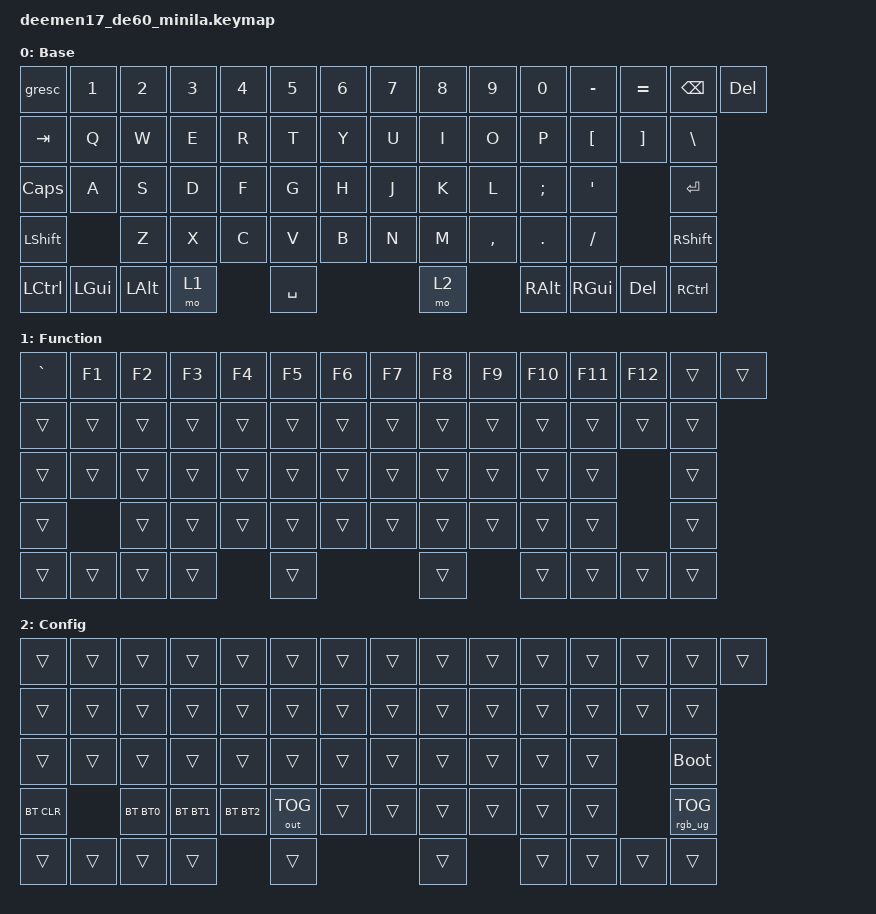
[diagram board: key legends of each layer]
/*
 * Copyright (c) 2024 Deemen17 Works
 *
 * SPDX-License-Identifier: MIT
 */

#include <behaviors.dtsi>
#include <dt-bindings/zmk/keys.h>
#include <dt-bindings/zmk/rgb.h>
#include <dt-bindings/zmk/bt.h>
#include <dt-bindings/zmk/outputs.h>
#include <dt-bindings/zmk/ext_power.h>

#define BT0 BT_SEL 0
#define BT1 BT_SEL 1
#define BT2 BT_SEL 2
#define USB OUT_USB
#define BLE OUT_BLE
#define TOG OUT_TOG

/ {
    keymap {
        compatible = "zmk,keymap";

        default_layer {
            display-name = "Base";
            bindings = <
    &gresc     &kp N1   &kp N2   &kp N3 &kp N4 &kp N5 &kp N6 &kp N7 &kp N8 &kp N9     &kp N0      &kp MINUS   &kp EQUAL &kp BSPC  &kp DEL    
    &kp TAB    &kp Q    &kp W    &kp E  &kp R  &kp T  &kp Y  &kp U  &kp I  &kp O      &kp P       &kp LBKT    &kp RBKT  &kp BSLH 
    &kp CLCK   &kp A    &kp S    &kp D  &kp F  &kp G  &kp H  &kp J  &kp K  &kp L      &kp SEMI    &kp SQT               &kp RET       
    &kp LSHFT           &kp Z    &kp X  &kp C  &kp V  &kp B  &kp N  &kp M  &kp COMMA  &kp DOT     &kp FSLH              &kp RSHFT               
    &kp LCTRL  &kp LGUI &kp LALT &mo 1         &kp SPACE            &mo 2             &kp RALT    &kp RGUI    &kp DEL   &kp RCTRL 
            >;
        };

        function_layer {
            display-name = "Function";
            bindings = <
    &kp GRAVE  &kp F1  &kp F2  &kp F3  &kp F4  &kp F5  &kp F6  &kp F7  &kp F8  &kp F9  &kp F10 &kp F11 &kp F12 &trans  &trans  
    &trans     &trans  &trans  &trans  &trans  &trans  &trans  &trans  &trans  &trans  &trans  &trans  &trans  &trans          
    &trans     &trans  &trans  &trans  &trans  &trans  &trans  &trans  &trans  &trans  &trans  &trans          &trans          
    &trans             &trans  &trans  &trans  &trans  &trans  &trans  &trans  &trans  &trans  &trans          &trans          
    &trans     &trans  &trans  &trans          &trans          &trans                  &trans  &trans  &trans  &trans  
            >;
        };

        config_layer {
            display-name = "Config";
            bindings = <
    &trans     &trans  &trans  &trans  &trans  &trans  &trans  &trans  &trans  &trans  &trans  &trans  &trans  &trans  &trans 
    &trans     &trans  &trans  &trans  &trans  &trans  &trans  &trans  &trans  &trans  &trans  &trans  &trans  &trans 
    &trans     &trans  &trans  &trans  &trans  &trans  &trans  &trans  &trans  &trans  &trans  &trans          &bootloader 
    &bt BT_CLR &bt BT0 &bt BT1 &bt BT2 &out TOG &trans  &trans  &trans  &trans  &trans  &trans          &rgb_ug RGB_TOG
    &trans     &trans  &trans  &trans          &trans          &trans                  &trans  &trans  &trans  &trans 
            >;
        };

    };
};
